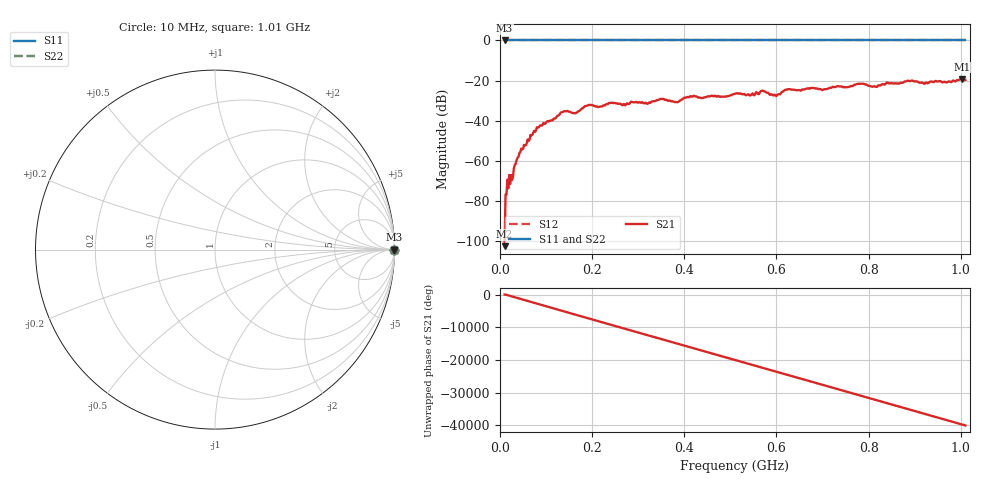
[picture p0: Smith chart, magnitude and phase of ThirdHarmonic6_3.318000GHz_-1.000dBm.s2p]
! 8/17/2025 10:23:26 AM
! C:\ANRITSUVNA\TEMP\TEMP.S2P
! CHANNEL.1
! TR.MEASUREMENT
! RAW.DATA
! RF.CORRECTION.OFF
! AVERAGING.OFF
! IF.BANDWIDTH: 5KHZ
! SWEEPTYPE:  FREQ.SWEEP(Linear)
! Reference Plane Port Info
! PORT:  PORT1  PORT2
! DISTANCE:  0  m  0  m
! TIME:  0  s  0  s
! PHASE.OFFSET:  0  deg.  0  deg.
! LOSS:  0  dB  0  dB
! REF.LOSS:  0  dB  0  dB
! REF.FREQ:  0  Hz  0  Hz
! Power Info
! POWER:  -20  dBm  -20  dBm
! EFF.POWER:  -20  dBm  -20  dBm
! SOURCE.ATTEN:  0  dB  0  dB
! TEST.ATTEN:  0  dB  0  dB
# GHZ S RI R 50.0
! FREQ.GHZ  S11RE  S11IM  S21RE  S21IM  S12RE  S12IM  S22RE  S22IM
!; PortSelection: Port_12
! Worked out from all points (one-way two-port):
!   501 points, 10 MHz to 1.01 GHz, reference 50 ohm
!   highest |S21| = -19.16 dB at 1.002 GHz (marker M1); lowest = -102.6 dB at 10 MHz (marker M2)
!   lowest |S11| = 0.0 dB at 10 MHz (marker M3)
!   |S11| at or under -10 dB: nowhere
!   |S22| runs from 0.0 to 0.0 dB; largest |S21 - S12| = 1.1
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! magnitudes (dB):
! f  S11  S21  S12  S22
! 10 MHz  0.0  -102.6  0.0  0.0
! 20 MHz  0.0  -67.1  0.0  0.0
! 26 MHz  0.0  -69.6  0.0  0.0
! 42 MHz  0.0  -56.2  0.0  0.0
! 70 MHz  0.0  -47.1  0.0  0.0
! 136 MHz  0.0  -35.7  0.0  0.0
! 162 MHz  0.0  -36.4  0.0  0.0
! 178 MHz  0.0  -33.9  0.0  0.0
! 194 MHz  0.0  -32.1  0.0  0.0
! 344 MHz  0.0  -29.6  0.0  0.0
! 382 MHz  0.0  -30.7  0.0  0.0
! 416 MHz  0.0  -28.0  0.0  0.0
! 510 MHz  0.0  -26.6  0.0  0.0
! 570 MHz  0.0  -25.0  0.0  0.0
! 596 MHz  0.0  -27.0  0.0  0.0
! 624 MHz  0.0  -24.4  0.0  0.0
! 678 MHz  0.0  -23.7  0.0  0.0
! 782 MHz  0.0  -21.6  0.0  0.0
! 814 MHz  0.0  -23.0  0.0  0.0
! 844 MHz  0.0  -21.4  0.0  0.0
! 1.002 GHz  0.0  -19.2  0.0  0.0
! 1.01 GHz  0.0  -19.7  0.0  0.0
